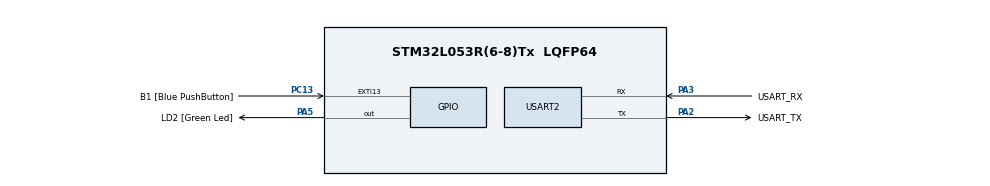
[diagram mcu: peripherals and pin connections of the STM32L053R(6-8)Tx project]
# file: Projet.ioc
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Mcu.Family=STM32L0
RCC.MSI_VALUE=2097000
PC15-OSC32_OUT.Mode=LSE-External-Oscillator
PH0-OSC_IN.Signal=RCC_OSC_IN
PC13.Signal=GPXTI13
PA14.GPIO_Label=TCK
PC13.GPIO_Label=B1 [Blue PushButton]
PC14-OSC32_IN.Signal=RCC_OSC32_IN
RCC.SYSCLKSource=RCC_SYSCLKSOURCE_HSI
ProjectManager.StackSize=0x400
PA3.Mode=Asynchronous
PA13.Signal=SYS_SWDIO
RCC.HSI16_VALUE=16000000
ProjectManager.TargetToolchain=STM32CubeIDE
RCC.HCLKFreq_Value=16000000
RCC.APB2TimFreq_Value=16000000
PC15-OSC32_OUT.Signal=RCC_OSC32_OUT
RCC.AHBFreq_Value=16000000
PH0-OSC_IN.Mode=HSE-External-Clock-Source
PA5.Signal=GPIO_Output
RCC.HSE_VALUE=8000000
board=NUCLEO-L053R8
USART2.VirtualMode-Asynchronous=VM_ASYNC
RCC.VCOOutputFreq_Value=48000000
RCC.APB2Freq_Value=16000000
PC14-OSC32_IN.Mode=LSE-External-Oscillator
PA14.Mode=Serial_Wire
PH1-OSC_OUT.Signal=RCC_OSC_OUT
PA13.Mode=Serial_Wire
Mcu.Name=STM32L053R(6-8)Tx
PA2.Signal=USART2_TX
PA13.GPIO_Label=TMS
RCC.SYSCLKFreq_VALUE=16000000
Mcu.Package=LQFP64
PA5.GPIO_Label=LD2 [Green Led]
PC13.GPIO_ModeDefaultEXTI=GPIO_MODE_IT_FALLING
PA2.GPIO_Label=USART_TX
PA14.Signal=SYS_SWCLK
ProjectManager.HeapSize=0x200
RCC.HSI_VALUE=16000000
RCC.APB1TimFreq_Value=16000000
PA2.Mode=Asynchronous
RCC.APB1Freq_Value=16000000
RCC.HSI48_VALUE=48000000
PA3.GPIO_Label=USART_RX
PA3.Signal=USART2_RX

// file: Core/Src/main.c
/* USER CODE BEGIN Header */
/**
  ******************************************************************************
  * @file           : main.c
  * @brief          : Main program body
  ******************************************************************************
  * @attention
  *
  * <h2><center>&copy; Copyright (c) 2021 STMicroelectronics.
  * All rights reserved.</center></h2>
  *
  * This software component is licensed by ST under BSD 3-Clause license,
  * the "License"; You may not use this file except in compliance with the
  * License. You may obtain a copy of the License at:
  *                        opensource.org/licenses/BSD-3-Clause
  *
  ******************************************************************************
  */
/* USER CODE END Header */
#include "main.h"
#include "usart.h"
#include "gpio.h"

#include "lcd.h"
#include "led.h"
#include "pwm.h"
#include "resistorVar.h"
#include "button.h"

PWM_TypeDef pwm;
BUTTON_TypeDef button;

//Valeurs de la photo résistance
float prValue = 0.0;
int iprValue;

//Valeurs du potentiomètre
float potValue = 50.0;
int ipotValue;

//Luminosité (duty_cycle)
float lum = 0.5;

//Mode d'écoute (Photorésistance/potentiomètre)
uint8_t mode = 1;

//Dernier état du bouton, utilisé pour le débugage
//uint8_t last_button_state=1;

void SystemClock_Config(void);

/* USER CODE BEGIN 0 */

//Interuption de changement de mode lors de l'appuie sur le bouton
void EXTI4_15_IRQHandler() {
	if(Button_State(&button) == 0){
		LL_mDelay(20000);
	} else {
		if(mode == 1){
			mode = 0;
			change_channel(ADC1, 0);
		} else if (mode == 0){
			mode = 1;
			change_channel(ADC1, 5);
		}
	}
	EXTI->PR|= (1 << button.pin);
}

/* USER CODE END 0 */

int main(void)
{

  /* MCU Configuration--------------------------------------------------------*/

  /* Reset of all peripherals, Initializes the Flash interface and the Systick. */

  LL_APB2_GRP1_EnableClock(LL_APB2_GRP1_PERIPH_SYSCFG);
  LL_APB1_GRP1_EnableClock(LL_APB1_GRP1_PERIPH_PWR);

  /* System interrupt init*/

  /* USER CODE BEGIN Init */

  //activation de l'horloge pour GPIOA etGPIOB
  RCC->IOPENR|= RCC_IOPENR_GPIOAEN | RCC_IOPENR_GPIOBEN;

  /* USER CODE END Init */

  /* Configure the system clock */
  SystemClock_Config();

  /* Initialize all configured peripherals */
  MX_GPIO_Init();
  MX_USART2_UART_Init();
  /* USER CODE BEGIN 2 */

  /*Ici la fonction LL_mDelay sera utilisée pour faire des temps d'attente en usPour cette raison on initialise le nombre de ticks nécessaire pour faire 1msà 16000 au lieu de 16000000*/
  LL_Init1msTick(16000);

  //Initialisation du LCD
  lcdinit4(); //call lcdinit4

  //Initialisation du bouton et de son gestionnaire d'interruptions
  Button_init(&button, GPIOC, 13, LL_GPIO_PULL_NO);
  Button_enableIRQ(&button,LL_EXTI_TRIGGER_RISING_FALLING);

  //Initialisation de la pin PWM et définition de sa valeur
  PWM_init(&pwm, GPIOB, 3, 2, TIM2, 2);
  PWM_set(&pwm, 16000000, 50, 0.5);

  //Initialisation de la résistance variable écoutée et donc du CAN, ici, la photorésistance
  rv_init(GPIOA, 5, ADC1, 12,5);

  /* USER CODE END 2 */
  /* Infinite loop */
  while (1) {

	  //Si le mode est le premier (observation de la luminosité)
	  if (mode == 1){
		  //ADC lis la valeur de la photo résistance
		  //La valeur est remise sur 100 (en % donc)
		  prValue = ((float)rv_getValue()/(float)4095)*100;
	  } else if (mode == 0){
		  //ADC lis la valeur du potentiomètre
		  //La valeur est remise sur 100 (en % donc)
		  potValue = ((float)rv_getValue()/(float)4095)*100;

	  }

	  //Conversion des valeurs de type float en int implicitement
	  iprValue = prValue;
	  ipotValue = potValue;

	  //Définition de la lumjinosité en fonction du rapport entre les valeurs
	  if (potValue < prValue) {
		  lum = 0.0;
	  } else {
		  lum = (potValue-prValue)/100;
	  }

	  //Changement du duty_cycle de la led en pwm afin d'ajuster la luminosité de l'éclairage
	  PWM_set(&pwm, 16000000, 50, lum);

	  //Conversion des valeurs de pot et pr en chaine de caractères
	  char prChar[20];
	  itoa(iprValue, prChar, 10);
	  char potChar[20];
	  itoa(ipotValue, potChar, 10);

	  //Si les valeurs s'écrivent sur moins de 3 caractères on adapte l'affichage
	  if(!potChar[1]){
		  potChar[1] = potChar[0];
		  potChar[0] = ' ';
	  }
	  if(!prChar[1]){
		  prChar[1] = prChar[0];
		  prChar[0] = ' ';
	  }

	  //Construction de la chaine de valeur de seuil à afficher sur le LCD caractère par caractère
	  char potStr[20];
	  potStr[0]= 'S';
	  potStr[1]= 'e';
	  potStr[2]= 'u';
	  potStr[3]= 'i';
	  potStr[4]= 'l';
	  potStr[5]= ' ';
	  potStr[6]= ':';
	  potStr[7]= ' ';
	  potStr[8]= ' ';
	  potStr[9]= ' ';
	  potStr[10]= ' ';
	  potStr[11]= ' ';
	  potStr[12] = potChar[0];
	  potStr[13] = potChar[1];
	  potStr[14] = ' ';
	  if (potChar[2]) { //Si la valeur observée fait 3 caractères ou plus
		  potStr[14] = potChar[2];
	  }
	  potStr[15] = '%';

	  //Construction de la chaine de luminosité ambiante à afficher sur le LCD caractère par caractère
	  char prStr[20];
	  prStr[0] = 'L';
	  prStr[1] = 'u';
	  prStr[2] = 'm';
	  prStr[3] = 'i';
	  prStr[4] = 'n';
	  prStr[5] = 'o';
	  prStr[6] = 's';
	  prStr[7] = 'i';
	  prStr[8] = 't';
	  prStr[9] = 'e';
	  prStr[10] = ' ';
	  prStr[11] = ':';
	  prStr[12] = prChar[0];
	  prStr[13] = prChar[1];
	  prStr[14] = ' ';
	  if (prChar[2]){
		  prStr[14] = prChar[2];
	  }
	  prStr[15] = '%';

	  //Envoie des données au LCD et affichage sur celui-ci
	  Affichage_LCD(potStr, prStr);

	  //Délai de 1.5 seconde afin d'éviter une observation des valeurs trop rapprochée
	  LL_mDelay(150000);

  }
}

void SystemClock_Config(void)
{
  LL_FLASH_SetLatency(LL_FLASH_LATENCY_0);
  while(LL_FLASH_GetLatency()!= LL_FLASH_LATENCY_0)
  {
  }
  LL_PWR_SetRegulVoltageScaling(LL_PWR_REGU_VOLTAGE_SCALE1);
  LL_RCC_HSI_Enable();

   /* Wait till HSI is ready */
  while(LL_RCC_HSI_IsReady() != 1)
  {

  }
  LL_RCC_HSI_SetCalibTrimming(16);
  LL_RCC_SetAHBPrescaler(LL_RCC_SYSCLK_DIV_1);
  LL_RCC_SetAPB1Prescaler(LL_RCC_APB1_DIV_1);
  LL_RCC_SetAPB2Prescaler(LL_RCC_APB2_DIV_1);
  LL_RCC_SetSysClkSource(LL_RCC_SYS_CLKSOURCE_HSI);

   /* Wait till System clock is ready */
  while(LL_RCC_GetSysClkSource() != LL_RCC_SYS_CLKSOURCE_STATUS_HSI)
  {

  }

  LL_Init1msTick(16000000);

  LL_SetSystemCoreClock(16000000);
  LL_RCC_SetUSARTClockSource(LL_RCC_USART2_CLKSOURCE_PCLK1);
}

void Error_Handler(void)
{
  __disable_irq();
  while (1)
  {
  }
}

/************************ (C) COPYRIGHT STMicroelectronics *****END OF FILE****/
